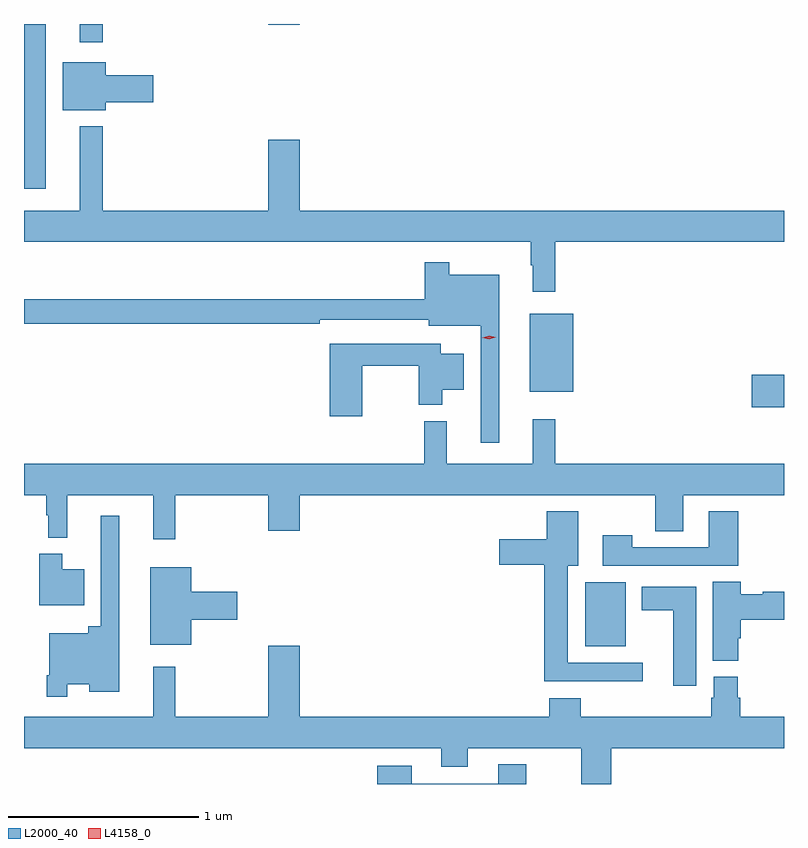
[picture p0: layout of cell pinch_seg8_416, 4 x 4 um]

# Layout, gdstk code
import gdstk
lib = gdstk.Library(unit=1e-6, precision=1e-09)
def R(c, l, rs):  # rectangles x0, y0, x1, y1
    for r in rs: c.add(gdstk.rectangle(r[:2], r[2:], *l))
def P(c, l, *ps):  # polygons
    for p in ps: c.add(gdstk.Polygon(p, *l))
L2000_40 = (2000, 40)
L4158_0 = (4158, 0)

pinch_seg8_416 = lib.new_cell('pinch_seg8_416')
R(pinch_seg8_416, L2000_40, [(286.556,1127.693,286.768,1128.028), (287.433,1128.95,287.602,1129.121), (286.265,1129.031,286.492,1129.441), (283.895,1130.871,284.017,1130.967), (284.888,1130.964,285.052,1130.967)])
P(pinch_seg8_416, L2000_40, [(283.717,1130.967),(283.602,1130.967),(283.602,1130.915),(283.603,1130.915),(283.603,1130.603),(283.602,1130.603),(283.602,1130.099),(283.717,1130.099)],
  [(284.032,1130.555),(284.281,1130.555),(284.281,1130.697),(284.032,1130.697),(284.032,1130.767),(283.805,1130.767),(283.805,1130.513),(284.032,1130.513)],
  [(286.397,1129.82),(287.602,1129.82),(287.602,1129.984),(285.052,1129.984),(285.052,1130.359),(284.888,1130.359),(284.888,1129.984),(284.017,1129.984),(284.017,1130.428),(283.895,1130.428),(283.895,1129.984),(283.602,1129.984),(283.602,1129.82),(286.269,1129.82),(286.269,1129.697),(286.28,1129.697),(286.28,1129.557),(286.397,1129.557)],
  [(286.102,1129.648),(285.841,1129.648),(285.841,1129.714),(285.712,1129.714),(285.712,1129.519),(283.602,1129.519),(283.602,1129.39),(285.158,1129.39),(285.158,1129.41),(285.731,1129.41),(285.731,1129.379),(286.005,1129.379),(286.005,1128.762),(286.102,1128.762)],
  [(285.382,1129.168),(285.68,1129.168),(285.68,1128.962),(285.802,1128.962),(285.802,1129.043),(285.916,1129.043),(285.916,1129.231),(285.796,1129.231),(285.796,1129.284),(285.212,1129.284),(285.212,1128.903),(285.382,1128.903)],
  [(286.28,1128.886),(286.28,1128.652),(285.827,1128.652),(285.827,1128.877),(285.709,1128.877),(285.709,1128.652),(283.602,1128.652),(283.602,1128.488),(283.719,1128.488),(283.719,1128.381),(283.73,1128.381),(283.73,1128.263),(283.829,1128.263),(283.829,1128.488),(284.282,1128.488),(284.282,1128.255),(284.399,1128.255),(284.399,1128.488),(284.888,1128.488),(284.888,1128.3),(285.052,1128.3),(285.052,1128.488),(286.924,1128.488),(286.924,1128.298),(287.071,1128.298),(287.071,1128.488),(287.602,1128.488),(287.602,1128.652),(286.397,1128.652),(286.397,1128.886)],
  [(287.36,1128.403),(287.207,1128.403),(287.207,1128.213),(286.803,1128.213),(286.803,1128.277),(286.647,1128.277),(286.647,1128.117),(287.36,1128.117)],
  [(286.858,1127.604),(286.465,1127.604),(286.465,1128.116),(286.519,1128.116),(286.519,1128.403),(286.352,1128.403),(286.352,1128.256),(286.104,1128.256),(286.104,1128.122),(286.34,1128.122),(286.34,1127.507),(286.858,1127.507)],
  [(283.83,1127.492),(283.946,1127.492),(283.946,1127.453),(284.104,1127.453),(284.104,1128.379),(284.007,1128.379),(284.007,1127.797),(283.939,1127.797),(283.939,1127.761),(283.734,1127.761),(283.734,1127.539),(283.722,1127.539),(283.722,1127.427),(283.83,1127.427)],
  [(283.918,1128.097),(283.804,1128.097),(283.804,1128.178),(283.682,1128.178),(283.682,1127.909),(283.918,1127.909)],
  [(284.482,1127.831),(284.725,1127.831),(284.725,1127.978),(284.482,1127.978),(284.482,1128.109),(284.267,1128.109),(284.267,1127.699),(284.482,1127.699)],
  [(287.362,1127.735),(287.375,1127.735),(287.375,1127.831),(287.602,1127.831),(287.602,1127.978),(287.489,1127.978),(287.489,1127.965),(287.375,1127.965),(287.375,1128.032),(287.228,1128.032),(287.228,1127.617),(287.362,1127.617)],
  [(287.14,1128.004),(286.853,1128.004),(286.853,1127.882),(287.018,1127.882),(287.018,1127.484),(287.14,1127.484)],
  [(286.694,1127.156),(287.602,1127.156),(287.602,1127.32),(287.372,1127.32),(287.372,1127.421),(287.359,1127.421),(287.359,1127.532),(287.231,1127.532),(287.231,1127.421),(287.219,1127.421),(287.219,1127.32),(286.532,1127.32),(286.532,1127.419),(286.367,1127.419),(286.367,1127.32),(285.052,1127.32),(285.052,1127.695),(284.888,1127.695),(284.888,1127.32),(284.399,1127.32),(284.399,1127.584),(284.282,1127.584),(284.282,1127.32),(283.602,1127.32),(283.602,1127.156),(285.797,1127.156),(285.797,1127.057),(285.937,1127.057),(285.937,1127.156),(286.534,1127.156),(286.534,1126.967),(286.694,1126.967)],
  [(286.245,1127.071),(286.097,1127.071),(286.097,1126.968),(285.643,1126.968),(285.643,1127.062),(285.461,1127.062),(285.461,1126.967),(286.245,1126.967)])
P(pinch_seg8_416, L4158_0, [(286.051,1129.307),(286.015,1129.315),(286.015,1129.316),(286.015,1129.316),(286.05,1129.327),(286.086,1129.318),(286.086,1129.318),(286.086,1129.318)])

lib.write_gds('pinch_seg8_416.gds')
